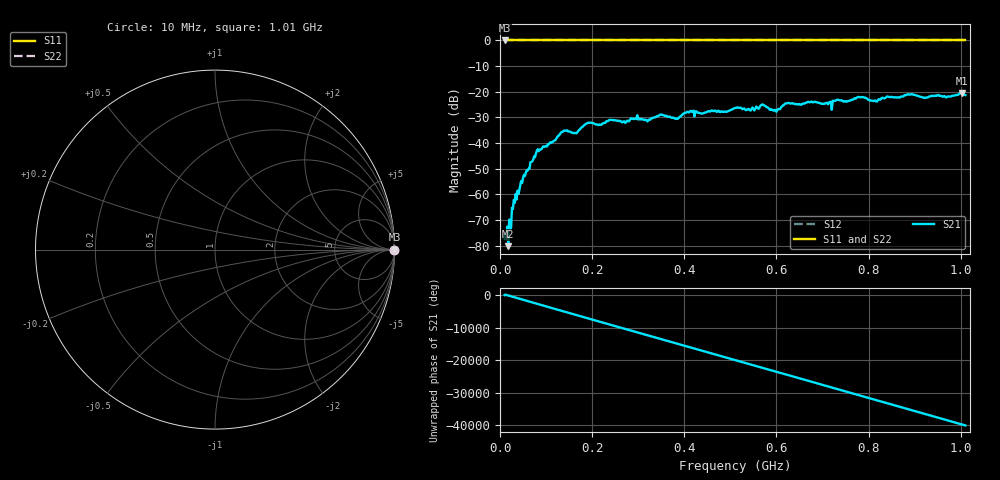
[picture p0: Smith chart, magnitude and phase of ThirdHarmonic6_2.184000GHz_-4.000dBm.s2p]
! 8/17/2025 2:02:37 AM
! C:\ANRITSUVNA\TEMP\TEMP.S2P
! CHANNEL.1
! TR.MEASUREMENT
! RAW.DATA
! RF.CORRECTION.OFF
! AVERAGING.OFF
! IF.BANDWIDTH: 5KHZ
! SWEEPTYPE:  FREQ.SWEEP(Linear)
! Reference Plane Port Info
! PORT:  PORT1  PORT2
! DISTANCE:  0  m  0  m
! TIME:  0  s  0  s
! PHASE.OFFSET:  0  deg.  0  deg.
! LOSS:  0  dB  0  dB
! REF.LOSS:  0  dB  0  dB
! REF.FREQ:  0  Hz  0  Hz
! Power Info
! POWER:  -20  dBm  -20  dBm
! EFF.POWER:  -20  dBm  -20  dBm
! SOURCE.ATTEN:  0  dB  0  dB
! TEST.ATTEN:  0  dB  0  dB
# GHZ S RI R 50.0
! FREQ.GHZ  S11RE  S11IM  S21RE  S21IM  S12RE  S12IM  S22RE  S22IM
!; PortSelection: Port_12
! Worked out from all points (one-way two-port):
!   501 points, 10 MHz to 1.01 GHz, reference 50 ohm
!   highest |S21| = -20.54 dB at 1.002 GHz (marker M1); lowest = -80.3 dB at 18 MHz (marker M2)
!   lowest |S11| = 0.0 dB at 10 MHz (marker M3)
!   |S11| at or under -10 dB: nowhere
!   |S22| runs from 0.0 to 0.0 dB; largest |S21 - S12| = 1.1
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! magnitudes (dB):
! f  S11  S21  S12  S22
! 10 MHz  0.0  -77.5  0.0  0.0
! 18 MHz  0.0  -80.3  0.0  0.0
! 22 MHz  0.0  -73.8  0.0  0.0
! 30 MHz  0.0  -62.2  0.0  0.0
! 34 MHz  0.0  -59.9  0.0  0.0
! 78 MHz  0.0  -44.1  0.0  0.0
! 136 MHz  0.0  -35.7  0.0  0.0
! 164 MHz  0.0  -36.1  0.0  0.0
! 178 MHz  0.0  -33.8  0.0  0.0
! 344 MHz  0.0  -29.4  0.0  0.0
! 384 MHz  0.0  -30.6  0.0  0.0
! 416 MHz  0.0  -27.8  0.0  0.0
! 510 MHz  0.0  -26.4  0.0  0.0
! 570 MHz  0.0  -25.0  0.0  0.0
! 596 MHz  0.0  -27.0  0.0  0.0
! 622 MHz  0.0  -24.5  0.0  0.0
! 678 MHz  0.0  -24.1  0.0  0.0
! 780 MHz  0.0  -22.1  0.0  0.0
! 814 MHz  0.0  -23.4  0.0  0.0
! 844 MHz  0.0  -22.1  0.0  0.0
! 1.002 GHz  0.0  -20.5  0.0  0.0
! 1.01 GHz  0.0  -21.3  0.0  0.0
